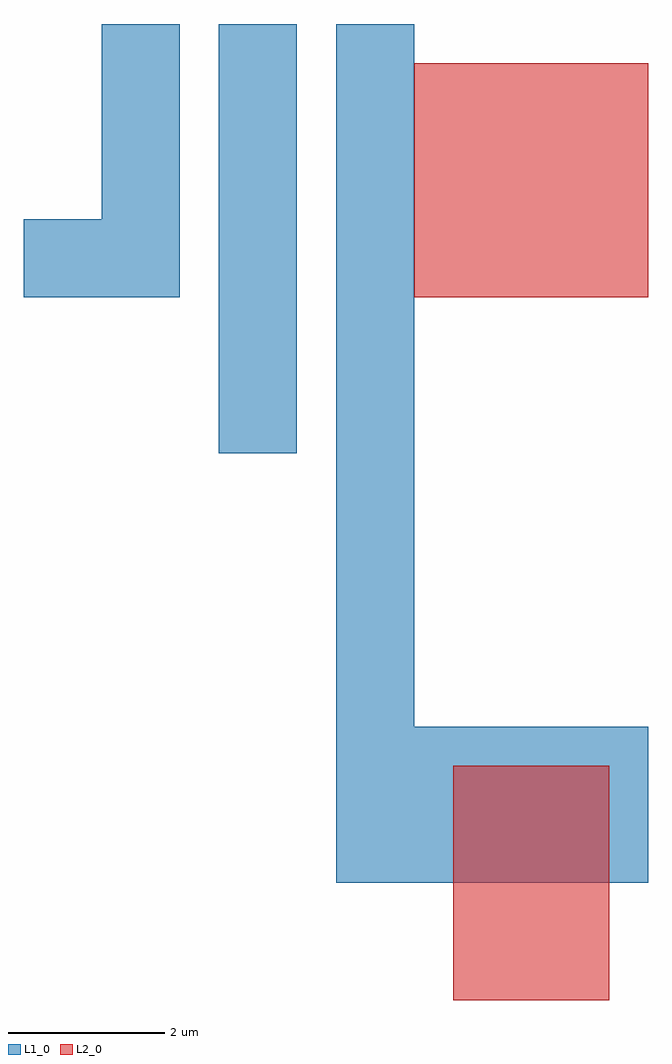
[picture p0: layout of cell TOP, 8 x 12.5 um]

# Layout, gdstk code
import gdstk
lib = gdstk.Library(unit=1e-6, precision=1e-09)
def R(c, l, rs):  # rectangles x0, y0, x1, y1
    for r in rs: c.add(gdstk.rectangle(r[:2], r[2:], *l))
def P(c, l, *ps):  # polygons
    for p in ps: c.add(gdstk.Polygon(p, *l))
L1_0 = (1, 0)
L2_0 = (2, 0)
L1000_0 = (1000, 0)
L1001_0 = (1001, 0)
L1002_0 = (1002, 0)
L1004_0 = (1004, 0)
L1005_0 = (1005, 0)

part = lib.new_cell('PART')
R(part, L1_0, [(0,0,1,5.5)])

top = lib.new_cell('TOP')
R(top, L1_0, [(1,-5.5,4,-3.5)])
P(top, L1_0, [(-4,2),(-4,3),(-3,3),(-3,5.5),(-2,5.5),(-2,2)])
R(top, L2_0, [(1.5,-7,3.5,-4), (1,2,4,5)])
top.add(gdstk.FlexPath([(1,5),(1,2)], 0, ends="flush", simple_path=True, layer=1000, datatype=0))  # L1000_0
top.add(gdstk.FlexPath([(3.5,-5.5),(1.5,-5.5)], 0, ends="flush", simple_path=True, layer=1000, datatype=0))  # L1000_0
top.add(gdstk.FlexPath([(-4,2),(-4,3)], 0, ends="flush", simple_path=True, layer=1001, datatype=0))  # L1001_0
top.add(gdstk.FlexPath([(-2,5.5),(-2,2)], 0, ends="flush", simple_path=True, layer=1001, datatype=0))  # L1001_0
top.add(gdstk.FlexPath([(-4,3),(-3,3)], 0, ends="flush", simple_path=True, layer=1001, datatype=0))  # L1001_0
top.add(gdstk.FlexPath([(-3,3),(-3,5.5)], 0, ends="flush", simple_path=True, layer=1001, datatype=0))  # L1001_0
top.add(gdstk.FlexPath([(-3,5.5),(-2,5.5)], 0, ends="flush", simple_path=True, layer=1001, datatype=0))  # L1001_0
top.add(gdstk.FlexPath([(-1.5,5.5),(-0.5,5.5)], 0, ends="flush", simple_path=True, layer=1001, datatype=0))  # L1001_0
top.add(gdstk.FlexPath([(4,-5.5),(3.5,-5.5)], 0, ends="flush", simple_path=True, layer=1001, datatype=0))  # L1001_0
top.add(gdstk.FlexPath([(0,-5.5),(0,5.5)], 0, ends="flush", simple_path=True, layer=1001, datatype=0))  # L1001_0
top.add(gdstk.FlexPath([(1.5,-5.5),(0,-5.5)], 0, ends="flush", simple_path=True, layer=1001, datatype=0))  # L1001_0
top.add(gdstk.FlexPath([(4,-3.5),(4,-5.5)], 0, ends="flush", simple_path=True, layer=1001, datatype=0))  # L1001_0
top.add(gdstk.FlexPath([(0,5.5),(1,5.5)], 0, ends="flush", simple_path=True, layer=1001, datatype=0))  # L1001_0
top.add(gdstk.FlexPath([(1,2),(1,-3.5)], 0, ends="flush", simple_path=True, layer=1001, datatype=0))  # L1001_0
top.add(gdstk.FlexPath([(-0.5,0),(-1.5,0)], 0, ends="flush", simple_path=True, layer=1001, datatype=0))  # L1001_0
top.add(gdstk.FlexPath([(1,-3.5),(4,-3.5)], 0, ends="flush", simple_path=True, layer=1001, datatype=0))  # L1001_0
top.add(gdstk.FlexPath([(1,5.5),(1,5)], 0, ends="flush", simple_path=True, layer=1001, datatype=0))  # L1001_0
top.add(gdstk.FlexPath([(-0.5,5.5),(-0.5,0)], 0, ends="flush", simple_path=True, layer=1001, datatype=0))  # L1001_0
top.add(gdstk.FlexPath([(-1.5,0),(-1.5,5.5)], 0, ends="flush", simple_path=True, layer=1001, datatype=0))  # L1001_0
top.add(gdstk.FlexPath([(-2,2),(-4,2)], 0, ends="flush", simple_path=True, layer=1001, datatype=0))  # L1001_0
top.add(gdstk.FlexPath([(1,2),(1,5)], 0, ends="flush", simple_path=True, layer=1002, datatype=0))  # L1002_0
top.add(gdstk.FlexPath([(1.5,-4),(3.5,-4)], 0, ends="flush", simple_path=True, layer=1002, datatype=0))  # L1002_0
top.add(gdstk.FlexPath([(3.5,-4),(3.5,-5.5)], 0, ends="flush", simple_path=True, layer=1002, datatype=0))  # L1002_0
top.add(gdstk.FlexPath([(1.5,-5.5),(1.5,-4)], 0, ends="flush", simple_path=True, layer=1002, datatype=0))  # L1002_0
top.add(gdstk.FlexPath([(1,5),(1,2)], 0, ends="flush", simple_path=True, layer=1004, datatype=0))  # L1004_0
top.add(gdstk.FlexPath([(-4,2),(-4,3)], 0, ends="flush", simple_path=True, layer=1005, datatype=0))  # L1005_0
top.add(gdstk.FlexPath([(-2,5.5),(-2,2)], 0, ends="flush", simple_path=True, layer=1005, datatype=0))  # L1005_0
top.add(gdstk.FlexPath([(-4,3),(-3,3)], 0, ends="flush", simple_path=True, layer=1005, datatype=0))  # L1005_0
top.add(gdstk.FlexPath([(-3,3),(-3,5.5)], 0, ends="flush", simple_path=True, layer=1005, datatype=0))  # L1005_0
top.add(gdstk.FlexPath([(4,-5.5),(0,-5.5)], 0, ends="flush", simple_path=True, layer=1005, datatype=0))  # L1005_0
top.add(gdstk.FlexPath([(1,-3.5),(4,-3.5)], 0, ends="flush", simple_path=True, layer=1005, datatype=0))  # L1005_0
top.add(gdstk.FlexPath([(1,5.5),(1,5)], 0, ends="flush", simple_path=True, layer=1005, datatype=0))  # L1005_0
top.add(gdstk.FlexPath([(4,-3.5),(4,-5.5)], 0, ends="flush", simple_path=True, layer=1005, datatype=0))  # L1005_0
top.add(gdstk.FlexPath([(0,-5.5),(0,5.5)], 0, ends="flush", simple_path=True, layer=1005, datatype=0))  # L1005_0
top.add(gdstk.FlexPath([(0,5.5),(1,5.5)], 0, ends="flush", simple_path=True, layer=1005, datatype=0))  # L1005_0
top.add(gdstk.FlexPath([(1,2),(1,-3.5)], 0, ends="flush", simple_path=True, layer=1005, datatype=0))  # L1005_0
top.add(gdstk.FlexPath([(-0.5,0),(-1.5,0)], 0, ends="flush", simple_path=True, layer=1005, datatype=0))  # L1005_0
top.add(gdstk.FlexPath([(-0.5,5.5),(-0.5,0)], 0, ends="flush", simple_path=True, layer=1005, datatype=0))  # L1005_0
top.add(gdstk.FlexPath([(-3,5.5),(-2,5.5)], 0, ends="flush", simple_path=True, layer=1005, datatype=0))  # L1005_0
top.add(gdstk.FlexPath([(-1.5,5.5),(-0.5,5.5)], 0, ends="flush", simple_path=True, layer=1005, datatype=0))  # L1005_0
top.add(gdstk.FlexPath([(-1.5,0),(-1.5,5.5)], 0, ends="flush", simple_path=True, layer=1005, datatype=0))  # L1005_0
top.add(gdstk.FlexPath([(-2,2),(-4,2)], 0, ends="flush", simple_path=True, layer=1005, datatype=0))  # L1005_0
top.add(gdstk.Reference(part, (0,0)))
top.add(gdstk.Reference(part, (0,-5.5)))
top.add(gdstk.Reference(part, (-1.5,0)))

lib.write_gds('TOP.gds')
